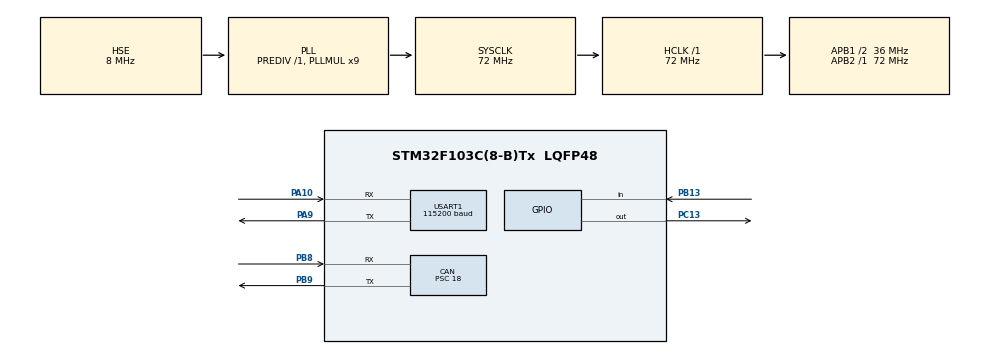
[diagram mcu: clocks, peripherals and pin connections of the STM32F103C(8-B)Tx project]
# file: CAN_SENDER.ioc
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CAN.ABOM=ENABLE
CAN.BS1=CAN_BS1_13TQ
CAN.BS2=CAN_BS2_2TQ
CAN.CalculateBaudRate=125000
CAN.CalculateTimeBit=8000
CAN.CalculateTimeQuantum=500.0
CAN.NART=ENABLE
CAN.Prescaler=18
Mcu.Family=STM32F1
Mcu.Name=STM32F103C(8-B)Tx
Mcu.Package=LQFP48
NVIC.CAN1_RX1_IRQn=true\:0\:0\:false\:false\:true\:true\:true\:true
NVIC.PriorityGroup=NVIC_PRIORITYGROUP_4
PA10.Mode=Asynchronous
PA10.Signal=USART1_RX
PA13.Mode=Serial_Wire
PA13.Signal=SYS_JTMS-SWDIO
PA14.Mode=Serial_Wire
PA14.Signal=SYS_JTCK-SWCLK
PA9.Mode=Asynchronous
PA9.Signal=USART1_TX
PB13.GPIO_PuPd=GPIO_PULLUP
PB13.Signal=GPIO_Input
PB8.Mode=CAN_Activate
PB8.Signal=CAN_RX
PB9.Mode=CAN_Activate
PB9.Signal=CAN_TX
PC13-TAMPER-RTC.Signal=GPIO_Output
PD0-OSC_IN.Mode=HSE-External-Oscillator
PD0-OSC_IN.Signal=RCC_OSC_IN
PD1-OSC_OUT.Mode=HSE-External-Oscillator
PD1-OSC_OUT.Signal=RCC_OSC_OUT
ProjectManager.HeapSize=0x200
ProjectManager.StackSize=0x400
ProjectManager.TargetToolchain=STM32CubeIDE
RCC.AHBFreq_Value=72000000
RCC.APB1CLKDivider=RCC_HCLK_DIV2
RCC.APB1Freq_Value=36000000
RCC.APB1TimFreq_Value=72000000
RCC.APB2Freq_Value=72000000
RCC.APB2TimFreq_Value=72000000
RCC.HCLKFreq_Value=72000000
RCC.PLLMUL=RCC_PLL_MUL9
RCC.PLLSourceVirtual=RCC_PLLSOURCE_HSE
RCC.SYSCLKFreq_VALUE=72000000
RCC.SYSCLKSource=RCC_SYSCLKSOURCE_PLLCLK
RCC.USBFreq_Value=72000000
USART1.BaudRate=115200
USART1.VirtualMode=VM_ASYNC
board=custom

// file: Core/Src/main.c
/* USER CODE BEGIN Header */
/**
  ******************************************************************************
  * @file           : main.c
  * @brief          : Main program body
  ******************************************************************************
  * @attention
  *
  * Copyright (c) 2026 STMicroelectronics.
  * All rights reserved.
  *
  * This software is licensed under terms that can be found in the LICENSE file
  * in the root directory of this software component.
  * If no LICENSE file comes with this software, it is provided AS-IS.
  *
  ******************************************************************************
  */
/* USER CODE END Header */
#include "main.h"

/* USER CODE BEGIN Includes */
#include <stdio.h>

/* USER CODE END Includes */

CAN_HandleTypeDef hcan;

UART_HandleTypeDef huart1;

/* USER CODE BEGIN PV */

// Redirect printf() output to USART1
int _write(int file, char *ptr, int len) {
    HAL_UART_Transmit(&huart1, (uint8_t*)ptr, len, HAL_MAX_DELAY);
    return len;
}

/* USER CODE END PV */

void SystemClock_Config(void);
static void MX_GPIO_Init(void);
static void MX_CAN_Init(void);
static void MX_USART1_UART_Init(void);

/* USER CODE BEGIN 0 */
uint16_t readValue;
CAN_TxHeaderTypeDef TxHeader;
uint32_t TxMailbox;
uint8_t TxData[8]="Pressed_";

#define DEBOUNCE_MS 20          // state must be stable this long to be accepted

// Returns 1 exactly once per confirmed press (released -> pressed).
// Time-based, so it works no matter how fast or slow the main loop runs.
static uint8_t Button_Pressed(void)
{
  static uint8_t  stable    = 1;   // last accepted state (1 = released, pull-up)
  static uint8_t  candidate = 1;   // state currently being timed
  static uint32_t changeTick = 0;

  uint8_t  raw = HAL_GPIO_ReadPin(GPIOB, GPIO_PIN_13);
  uint32_t now = HAL_GetTick();

  if (raw != candidate)            // pin changed -> restart the timer
  {
    candidate  = raw;
    changeTick = now;
  }
  else if (candidate != stable && (now - changeTick) >= DEBOUNCE_MS)
  {
    stable = candidate;            // stable long enough -> accept it
    if (stable == 0) return 1;     // accepted a PRESS (ignore releases)
  }
  return 0;
}

static void SendPressed(void)
{
  // If all 3 mailboxes are stuck (e.g. nobody ACKs), free them so new presses still go out
  if (HAL_CAN_GetTxMailboxesFreeLevel(&hcan) == 0)
    HAL_CAN_AbortTxRequest(&hcan, CAN_TX_MAILBOX0 | CAN_TX_MAILBOX1 | CAN_TX_MAILBOX2);

  HAL_CAN_AddTxMessage(&hcan, &TxHeader, TxData, &TxMailbox);
}
/* USER CODE END 0 */

int main(void)
{

  /* MCU Configuration--------------------------------------------------------*/

  /* Reset of all peripherals, Initializes the Flash interface and the Systick. */
  HAL_Init();

  /* Configure the system clock */
  SystemClock_Config();

  /* Initialize all configured peripherals */
  MX_GPIO_Init();
  MX_CAN_Init();
  MX_USART1_UART_Init();
  /* USER CODE BEGIN 2 */
  HAL_CAN_Start(&hcan);
  TxHeader.StdId              = 0x6A5;
  TxHeader.ExtId              = 0;
  TxHeader.IDE                = CAN_ID_STD;
  TxHeader.RTR                = CAN_RTR_DATA;
  TxHeader.DLC                = 8;
  TxHeader.TransmitGlobalTime = DISABLE;
  /* USER CODE END 2 */

  /* Infinite loop */
  /* USER CODE BEGIN WHILE */
  while (1)
  {
	  if (Button_Pressed())
	      {
	        HAL_GPIO_TogglePin(GPIOC, GPIO_PIN_13);   // local LED: proves the press was seen
	        SendPressed();
	      }
    /* USER CODE END WHILE */

  }
}

void SystemClock_Config(void)
{
  RCC_OscInitTypeDef RCC_OscInitStruct = {0};
  RCC_ClkInitTypeDef RCC_ClkInitStruct = {0};

  /** Initializes the RCC Oscillators according to the specified parameters
  * in the RCC_OscInitTypeDef structure.
  */
  RCC_OscInitStruct.OscillatorType = RCC_OSCILLATORTYPE_HSE;
  RCC_OscInitStruct.HSEState = RCC_HSE_ON;
  RCC_OscInitStruct.HSEPredivValue = RCC_HSE_PREDIV_DIV1;
  RCC_OscInitStruct.HSIState = RCC_HSI_ON;
  RCC_OscInitStruct.PLL.PLLState = RCC_PLL_ON;
  RCC_OscInitStruct.PLL.PLLSource = RCC_PLLSOURCE_HSE;
  RCC_OscInitStruct.PLL.PLLMUL = RCC_PLL_MUL9;
  if (HAL_RCC_OscConfig(&RCC_OscInitStruct) != HAL_OK)
  {
    Error_Handler();
  }

  /** Initializes the CPU, AHB and APB buses clocks
  */
  RCC_ClkInitStruct.ClockType = RCC_CLOCKTYPE_HCLK|RCC_CLOCKTYPE_SYSCLK
                              |RCC_CLOCKTYPE_PCLK1|RCC_CLOCKTYPE_PCLK2;
  RCC_ClkInitStruct.SYSCLKSource = RCC_SYSCLKSOURCE_PLLCLK;
  RCC_ClkInitStruct.AHBCLKDivider = RCC_SYSCLK_DIV1;
  RCC_ClkInitStruct.APB1CLKDivider = RCC_HCLK_DIV2;
  RCC_ClkInitStruct.APB2CLKDivider = RCC_HCLK_DIV1;

  if (HAL_RCC_ClockConfig(&RCC_ClkInitStruct, FLASH_LATENCY_2) != HAL_OK)
  {
    Error_Handler();
  }
}

static void MX_CAN_Init(void)
{

  hcan.Instance = CAN1;
  hcan.Init.Prescaler = 18;
  hcan.Init.Mode = CAN_MODE_NORMAL;
  hcan.Init.SyncJumpWidth = CAN_SJW_1TQ;
  hcan.Init.TimeSeg1 = CAN_BS1_13TQ;
  hcan.Init.TimeSeg2 = CAN_BS2_2TQ;
  hcan.Init.TimeTriggeredMode = DISABLE;
  hcan.Init.AutoBusOff = ENABLE;
  hcan.Init.AutoWakeUp = DISABLE;
  hcan.Init.AutoRetransmission = ENABLE;
  hcan.Init.ReceiveFifoLocked = DISABLE;
  hcan.Init.TransmitFifoPriority = DISABLE;
  if (HAL_CAN_Init(&hcan) != HAL_OK)
  {
    Error_Handler();
  }

}

static void MX_USART1_UART_Init(void)
{

  huart1.Instance = USART1;
  huart1.Init.BaudRate = 115200;
  huart1.Init.WordLength = UART_WORDLENGTH_8B;
  huart1.Init.StopBits = UART_STOPBITS_1;
  huart1.Init.Parity = UART_PARITY_NONE;
  huart1.Init.Mode = UART_MODE_TX_RX;
  huart1.Init.HwFlowCtl = UART_HWCONTROL_NONE;
  huart1.Init.OverSampling = UART_OVERSAMPLING_16;
  if (HAL_UART_Init(&huart1) != HAL_OK)
  {
    Error_Handler();
  }

}

static void MX_GPIO_Init(void)
{
  GPIO_InitTypeDef GPIO_InitStruct = {0};

  /* GPIO Ports Clock Enable */
  __HAL_RCC_GPIOC_CLK_ENABLE();
  __HAL_RCC_GPIOD_CLK_ENABLE();
  __HAL_RCC_GPIOB_CLK_ENABLE();
  __HAL_RCC_GPIOA_CLK_ENABLE();

  /*Configure GPIO pin Output Level */
  HAL_GPIO_WritePin(GPIOC, GPIO_PIN_13, GPIO_PIN_RESET);

  /*Configure GPIO pin : PC13 */
  GPIO_InitStruct.Pin = GPIO_PIN_13;
  GPIO_InitStruct.Mode = GPIO_MODE_OUTPUT_PP;
  GPIO_InitStruct.Pull = GPIO_NOPULL;
  GPIO_InitStruct.Speed = GPIO_SPEED_FREQ_LOW;
  HAL_GPIO_Init(GPIOC, &GPIO_InitStruct);

  /*Configure GPIO pin : PB13 */
  GPIO_InitStruct.Pin = GPIO_PIN_13;
  GPIO_InitStruct.Mode = GPIO_MODE_INPUT;
  GPIO_InitStruct.Pull = GPIO_PULLUP;
  HAL_GPIO_Init(GPIOB, &GPIO_InitStruct);

}

void Error_Handler(void)
{
  __disable_irq();
  while (1)
  {
  }
}
